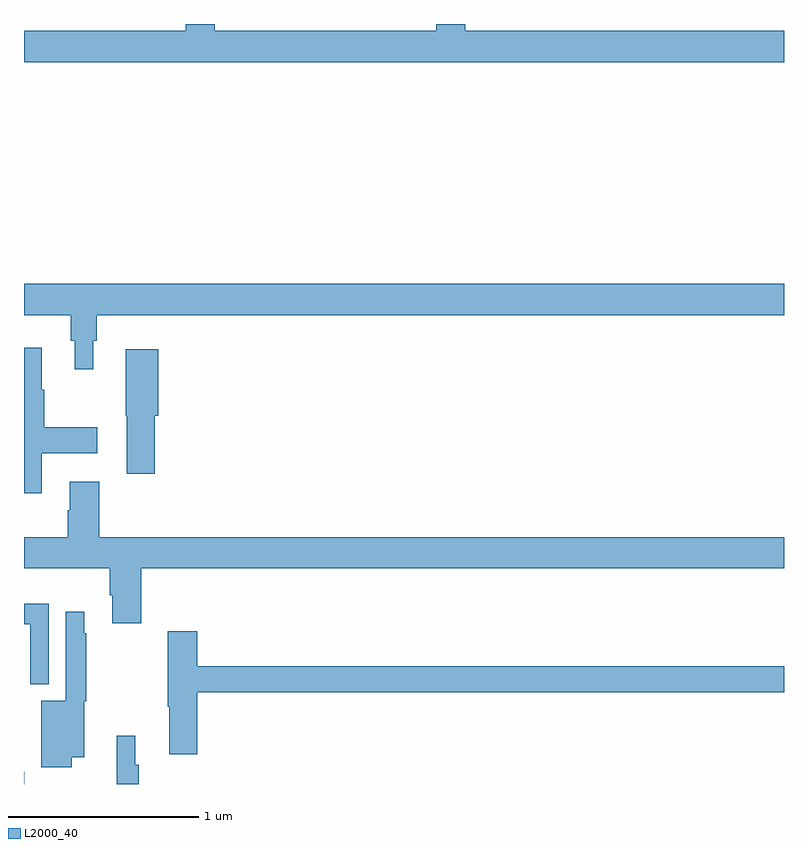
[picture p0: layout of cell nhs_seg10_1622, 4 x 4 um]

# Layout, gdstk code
import gdstk
lib = gdstk.Library(unit=1e-6, precision=1e-09)
def R(c, l, rs):  # rectangles x0, y0, x1, y1
    for r in rs: c.add(gdstk.rectangle(r[:2], r[2:], *l))
def P(c, l, *ps):  # polygons
    for p in ps: c.add(gdstk.Polygon(p, *l))
L2000_40 = (2000, 40)

nhs_seg10_1622 = lib.new_cell('nhs_seg10_1622')
R(nhs_seg10_1622, L2000_40, [(195,1312.5,195.002,1312.564)])
P(nhs_seg10_1622, L2000_40, [(199,1316.464),(197.322,1316.464),(197.322,1316.5),(197.171,1316.5),(197.171,1316.464),(196.003,1316.464),(196.003,1316.5),(195.851,1316.5),(195.851,1316.464),(195,1316.464),(195,1316.3),(199,1316.3)],
  [(195.364,1314.834),(195.383,1314.834),(195.383,1314.968),(199,1314.968),(199,1315.132),(195,1315.132),(195,1314.968),(195.247,1314.968),(195.247,1314.834),(195.266,1314.834),(195.266,1314.684),(195.364,1314.684)],
  [(195.094,1314.242),(195.385,1314.242),(195.385,1314.377),(195.106,1314.377),(195.106,1314.576),(195.094,1314.576),(195.094,1314.796),(195,1314.796),(195,1314.03),(195.094,1314.03)],
  [(195.689,1314.438),(195.707,1314.438),(195.707,1314.787),(195.536,1314.787),(195.536,1314.438),(195.542,1314.438),(195.542,1314.132),(195.689,1314.132)],
  [(195.617,1313.636),(199,1313.636),(199,1313.8),(195.395,1313.8),(195.395,1314.091),(195.242,1314.091),(195.242,1313.942),(195.23,1313.942),(195.23,1313.8),(195,1313.8),(195,1313.636),(195.452,1313.636),(195.452,1313.494),(195.464,1313.494),(195.464,1313.346),(195.617,1313.346)],
  [(195.129,1313.448),(195,1313.448),(195,1313.34),(195.032,1313.34),(195.032,1313.024),(195.129,1313.024)],
  [(195.25,1312.64),(195.316,1312.64),(195.316,1312.935),(195.328,1312.935),(195.328,1313.294),(195.316,1313.294),(195.316,1313.407),(195.219,1313.407),(195.219,1312.939),(195.092,1312.939),(195.092,1312.587),(195.25,1312.587)],
  [(195.911,1312.984),(199,1312.984),(199,1313.12),(195.911,1313.12),(195.911,1313.305),(195.757,1313.305),(195.757,1312.907),(195.764,1312.907),(195.764,1312.656),(195.911,1312.656)],
  [(195.605,1312.602),(195.586,1312.602),(195.586,1312.753),(195.487,1312.753),(195.487,1312.5),(195.605,1312.5)])

lib.write_gds('nhs_seg10_1622.gds')
